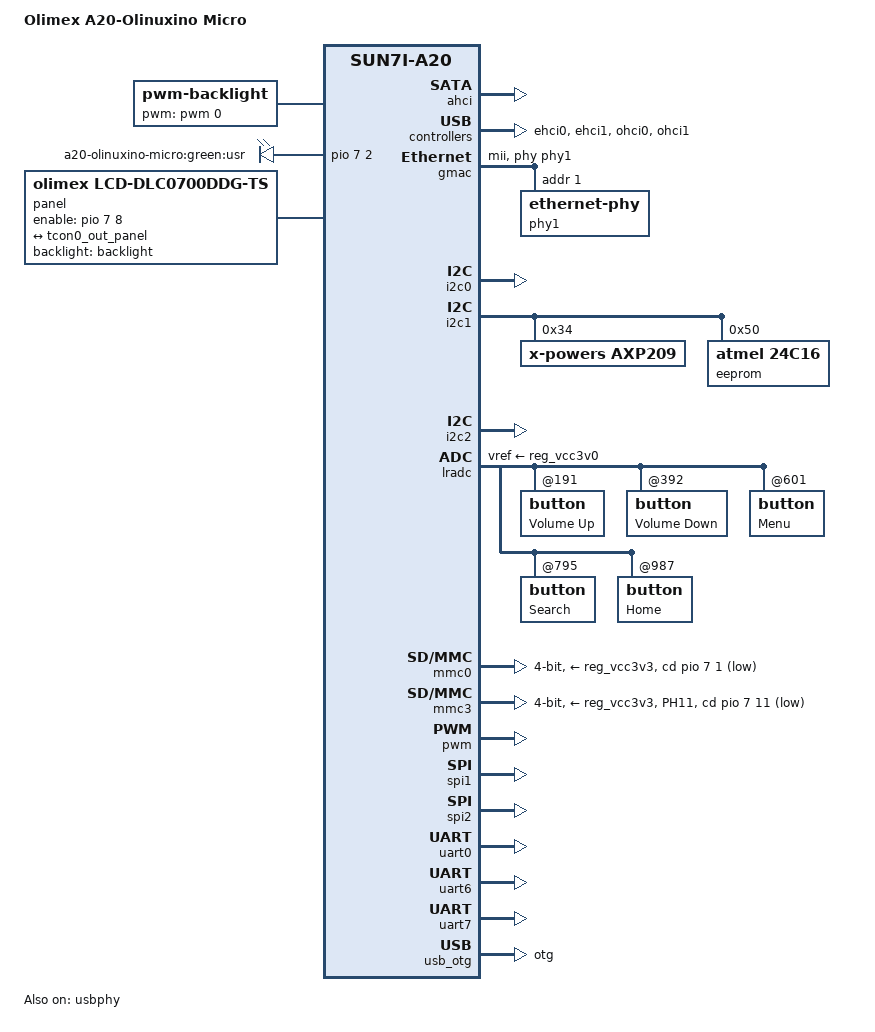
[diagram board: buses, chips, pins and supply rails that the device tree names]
/*
 * Copyright 2013 Maxime Ripard
 *
 * Maxime Ripard <maxime.ripard@free-electrons.com>
 *
 * This file is dual-licensed: you can use it either under the terms
 * of the GPL or the X11 license, at your option. Note that this dual
 * licensing only applies to this file, and not this project as a
 * whole.
 *
 *  a) This file is free software; you can redistribute it and/or
 *     modify it under the terms of the GNU General Public License as
 *     published by the Free Software Foundation; either version 2 of the
 *     License, or (at your option) any later version.
 *
 *     This file is distributed in the hope that it will be useful,
 *     but WITHOUT ANY WARRANTY; without even the implied warranty of
 *     MERCHANTABILITY or FITNESS FOR A PARTICULAR PURPOSE.  See the
 *     GNU General Public License for more details.
 *
 * Or, alternatively,
 *
 *  b) Permission is hereby granted, free of charge, to any person
 *     obtaining a copy of this software and associated documentation
 *     files (the "Software"), to deal in the Software without
 *     restriction, including without limitation the rights to use,
 *     copy, modify, merge, publish, distribute, sublicense, and/or
 *     sell copies of the Software, and to permit persons to whom the
 *     Software is furnished to do so, subject to the following
 *     conditions:
 *
 *     The above copyright notice and this permission notice shall be
 *     included in all copies or substantial portions of the Software.
 *
 *     THE SOFTWARE IS PROVIDED "AS IS", WITHOUT WARRANTY OF ANY KIND,
 *     EXPRESS OR IMPLIED, INCLUDING BUT NOT LIMITED TO THE WARRANTIES
 *     OF MERCHANTABILITY, FITNESS FOR A PARTICULAR PURPOSE AND
 *     NONINFRINGEMENT. IN NO EVENT SHALL THE AUTHORS OR COPYRIGHT
 *     HOLDERS BE LIABLE FOR ANY CLAIM, DAMAGES OR OTHER LIABILITY,
 *     WHETHER IN AN ACTION OF CONTRACT, TORT OR OTHERWISE, ARISING
 *     FROM, OUT OF OR IN CONNECTION WITH THE SOFTWARE OR THE USE OR
 *     OTHER DEALINGS IN THE SOFTWARE.
 */

/dts-v1/;
#include "sun7i-a20.dtsi"
#include "sunxi-common-regulators.dtsi"

#include <dt-bindings/gpio/gpio.h>
#include <dt-bindings/input/input.h>
#include <dt-bindings/interrupt-controller/irq.h>
#include <dt-bindings/pinctrl/sun4i-a10.h>
#include <dt-bindings/pwm/pwm.h>

/ {
	model = "Olimex A20-Olinuxino Micro";
	compatible = "olimex,a20-olinuxino-micro", "allwinner,sun7i-a20";

	aliases {
		serial0 = &uart0;
		serial1 = &uart6;
		serial2 = &uart7;
		spi0 = &spi1;
		spi1 = &spi2;
	};

	backlight: backlight {
		compatible = "pwm-backlight";
		pwms = <&pwm 0 10000 PWM_POLARITY_INVERTED>;
		brightness-levels = <0 10 20 30 40 50 60 70 80 90 100>;
		default-brightness-level = <8>;
	};

	chosen {
		stdout-path = "serial0:115200n8";
	};

	leds {
		compatible = "gpio-leds";
		pinctrl-names = "default";
		pinctrl-0 = <&led_pins_olinuxino>;

		green {
			label = "a20-olinuxino-micro:green:usr";
			gpios = <&pio 7 2 GPIO_ACTIVE_HIGH>;
			default-state = "on";
		};
	};

	panel: panel {
		compatible = "olimex,lcd-dlc0700ddg-ts";
		backlight = <&backlight>;
		enable-gpios = <&pio 7 8 GPIO_ACTIVE_HIGH>; /* PH8 */
		pinctrl-names = "default";
		pinctrl-0 = <&lcd_enable_pin &lcd_rgb888_pins>;
		#address-cells = <1>;
		#size-cells = <0>;

		port {
			#address-cells = <1>;
			#size-cells = <0>;

			panel_input: endpoint {
				remote-endpoint = <&tcon0_out_panel>;
			};
		};
	};

	tcon0: lcd-controller@1c0c000 {
		compatible = "allwinner,sun5i-a13-tcon";
		reg = <0x01c0c000 0x1000>;
		interrupts = <GIC_SPI 44 IRQ_TYPE_LEVEL_HIGH>;
		resets = <&tcon0_ch0_clk 1>;
		reset-names = "lcd";
		clocks = <&ahb_gates 36>,
		         <&tcon0_ch0_clk>,
		         <&tcon0_ch1_clk>;
		clock-names = "ahb",
		              "tcon-ch0",
		              "tcon-ch1";
		clock-output-names = "tcon-pixel-clock";

		ports {
			#address-cells = <1>;
			#size-cells = <0>;

			tcon0_in: port@0 {
				#address-cells = <1>;
				#size-cells = <0>;
				reg = <0>;

				tcon0_in_be0: endpoint@0 {
					reg = <0>;
					remote-endpoint = <&be0_out_tcon0>;
				};
			};

			tcon0_out: port@1 {
				#address-cells = <1>;
				#size-cells = <0>;
				reg = <1>;

				tcon0_out_panel: endpoint@0 {
					reg = <0>;
					remote-endpoint = <&panel_input>;
				};
			};
		};
	};

	fe0: display-frontend@1e00000 {
		compatible = "allwinner,sun5i-a13-display-frontend";
		reg = <0x01e00000 0x20000>;
		interrupts = <GIC_SPI 47 IRQ_TYPE_LEVEL_HIGH>;
		clocks = <&ahb_gates 46>, <&de_fe0_clk>,
		         <&dram_gates 25>;
		clock-names = "ahb", "mod",
		              "ram";
		resets = <&de_fe0_clk>;

		ports {
			#address-cells = <1>;
			#size-cells = <0>;

			fe0_out: port@1 {
				#address-cells = <1>;
				#size-cells = <0>;
				reg = <1>;

				fe0_out_be0: endpoint {
					remote-endpoint = <&be0_in_fe0>;
				};
			};
		};
	};

	be0: display-backend@1e60000 {
		compatible = "allwinner,sun5i-a13-display-backend";
		reg = <0x01e60000 0x10000>;
		clocks = <&ahb_gates 44>, <&de_be0_clk>,
		         <&dram_gates 26>;
		clock-names = "ahb", "mod",
		              "ram";
		resets = <&de_be0_clk>;

		ports {
			#address-cells = <1>;
			#size-cells = <0>;

			be0_in: port@0 {
				#address-cells = <1>;
				#size-cells = <0>;
				reg = <0>;

				be0_in_fe0: endpoint@0 {
					reg = <0>;
					remote-endpoint = <&fe0_out_be0>;
				};
			};

			be0_out: port@1 {
				#address-cells = <1>;
				#size-cells = <0>;
				reg = <1>;

				be0_out_tcon0: endpoint@0 {
					reg = <0>;
					remote-endpoint = <&tcon0_in_be0>;
				};
			};
		};
	};

	display-engine {
		compatible = "allwinner,sun5i-a13-display-engine";
		allwinner,pipelines = <&fe0>;
	};
};

&ahci {
	target-supply = <&reg_ahci_5v>;
	status = "okay";
};

&ehci0 {
	status = "okay";
};

&ehci1 {
	status = "okay";
};

&gmac {
	pinctrl-names = "default";
	pinctrl-0 = <&gmac_pins_mii_a>;
	phy = <&phy1>;
	phy-mode = "mii";
	status = "okay";

	phy1: ethernet-phy@1 {
		reg = <1>;
	};
};

&i2c0 {
	pinctrl-names = "default";
	pinctrl-0 = <&i2c0_pins_a>;
	status = "okay";
};

&i2c1 {
	pinctrl-names = "default";
	pinctrl-0 = <&i2c1_pins_a>;
	status = "okay";

	axp209: pmic@34 {
		compatible = "x-powers,axp209";
		reg = <0x34>;
		interrupt-parent = <&nmi_intc>;
		interrupts = <0 IRQ_TYPE_LEVEL_LOW>;

		interrupt-controller;
		#interrupt-cells = <1>;
	};

	eeprom: eeprom@50 {
		compatible = "atmel,24c16";
		reg = <0x50>;
		pagesize = <16>;
	};
};

&i2c2 {
	pinctrl-names = "default";
	pinctrl-0 = <&i2c2_pins_a>;
	status = "okay";
};

&lradc {
	vref-supply = <&reg_vcc3v0>;
	status = "okay";

	button@191 {
		label = "Volume Up";
		linux,code = <KEY_VOLUMEUP>;
		channel = <0>;
		voltage = <191274>;
	};

	button@392 {
		label = "Volume Down";
		linux,code = <KEY_VOLUMEDOWN>;
		channel = <0>;
		voltage = <392644>;
	};

	button@601 {
		label = "Menu";
		linux,code = <KEY_MENU>;
		channel = <0>;
		voltage = <601151>;
	};

	button@795 {
		label = "Search";
		linux,code = <KEY_SEARCH>;
		channel = <0>;
		voltage = <795090>;
	};

	button@987 {
		label = "Home";
		linux,code = <KEY_HOMEPAGE>;
		channel = <0>;
		voltage = <987387>;
	};

	button@1184 {
		label = "Esc";
		linux,code = <KEY_ESC>;
		channel = <0>;
		voltage = <1184678>;
	};

	button@1398 {
		label = "Enter";
		linux,code = <KEY_ENTER>;
		channel = <0>;
		voltage = <1398804>;
	};
};

&mmc0 {
	pinctrl-names = "default";
	pinctrl-0 = <&mmc0_pins_a>, <&mmc0_cd_pin_reference_design>;
	vmmc-supply = <&reg_vcc3v3>;
	bus-width = <4>;
	cd-gpios = <&pio 7 1 GPIO_ACTIVE_HIGH>; /* PH1 */
	cd-inverted;
	status = "okay";
};

&mmc3 {
	pinctrl-names = "default";
	pinctrl-0 = <&mmc3_pins_a>, <&mmc3_cd_pin_olinuxinom>;
	vmmc-supply = <&reg_vcc3v3>;
	bus-width = <4>;
	cd-gpios = <&pio 7 11 GPIO_ACTIVE_HIGH>; /* PH11 */
	cd-inverted;
	status = "okay";
};

&ohci0 {
	status = "okay";
};

&ohci1 {
	status = "okay";
};

&otg_sram {
	status = "okay";
};

&pio {
	lcd_enable_pin: lcd_enable_pin@0 {
		allwinner,pins = "PH8";
		allwinner,function = "gpio_out";
		allwinner,drive = <SUN4I_PINCTRL_10_MA>;
		allwinner,pull = <SUN4I_PINCTRL_NO_PULL>;
	};

	lcd_rgb888_pins: lcd_rgb888_pins@0 {
		allwinner,pins = "PD0", "PD1", "PD2", "PD3", "PD4", "PD5",
		                 "PD6", "PD7", "PD8", "PD9", "PD10", "PD11",
		                 "PD12", "PD13", "PD14", "PD15", "PD16",
		                 "PD17", "PD18", "PD19", "PD20", "PD21",
		                 "PD22", "PD23", "PD24", "PD25", "PD26",
		                 "PD27";
		allwinner,function = "lcd0";
		allwinner,drive = <SUN4I_PINCTRL_10_MA>;
		allwinner,pull = <SUN4I_PINCTRL_NO_PULL>;
	};

	mmc3_cd_pin_olinuxinom: mmc3_cd_pin@0 {
		pins = "PH11";
		function = "gpio_in";
		bias-pull-up;
	};

	led_pins_olinuxino: led_pins@0 {
		pins = "PH2";
		function = "gpio_out";
		drive-strength = <20>;
	};

	usb0_id_detect_pin: usb0_id_detect_pin@0 {
		pins = "PH4";
		function = "gpio_in";
		bias-pull-up;
	};

	usb0_vbus_detect_pin: usb0_vbus_detect_pin@0 {
		pins = "PH5";
		function = "gpio_in";
		bias-pull-down;
	};
};

&pwm {
	pinctrl-names = "default";
	pinctrl-0 = <&pwm0_pins_a>;
	status = "okay";
};

&reg_ahci_5v {
	status = "okay";
};

&reg_usb0_vbus {
	status = "okay";
};

&reg_usb1_vbus {
	status = "okay";
};

&reg_usb2_vbus {
	status = "okay";
};

&spi1 {
	pinctrl-names = "default";
	pinctrl-0 = <&spi1_pins_a>,
		    <&spi1_cs0_pins_a>;
	status = "okay";
};

&spi2 {
	pinctrl-names = "default";
	pinctrl-0 = <&spi2_pins_a>,
		    <&spi2_cs0_pins_a>;
	status = "okay";
};

&uart0 {
	pinctrl-names = "default";
	pinctrl-0 = <&uart0_pins_a>;
	status = "okay";
};

&uart6 {
	pinctrl-names = "default";
	pinctrl-0 = <&uart6_pins_a>;
	status = "okay";
};

&uart7 {
	pinctrl-names = "default";
	pinctrl-0 = <&uart7_pins_a>;
	status = "okay";
};

&usb_otg {
	dr_mode = "otg";
	status = "okay";
};

&usbphy {
	pinctrl-names = "default";
	pinctrl-0 = <&usb0_id_detect_pin>, <&usb0_vbus_detect_pin>;
	usb0_id_det-gpio = <&pio 7 4 GPIO_ACTIVE_HIGH>; /* PH4 */
	usb0_vbus_det-gpio = <&pio 7 5 GPIO_ACTIVE_HIGH>; /* PH5 */
	usb0_vbus-supply = <&reg_usb0_vbus>;
	usb1_vbus-supply = <&reg_usb1_vbus>;
	usb2_vbus-supply = <&reg_usb2_vbus>;
	status = "okay";
};
